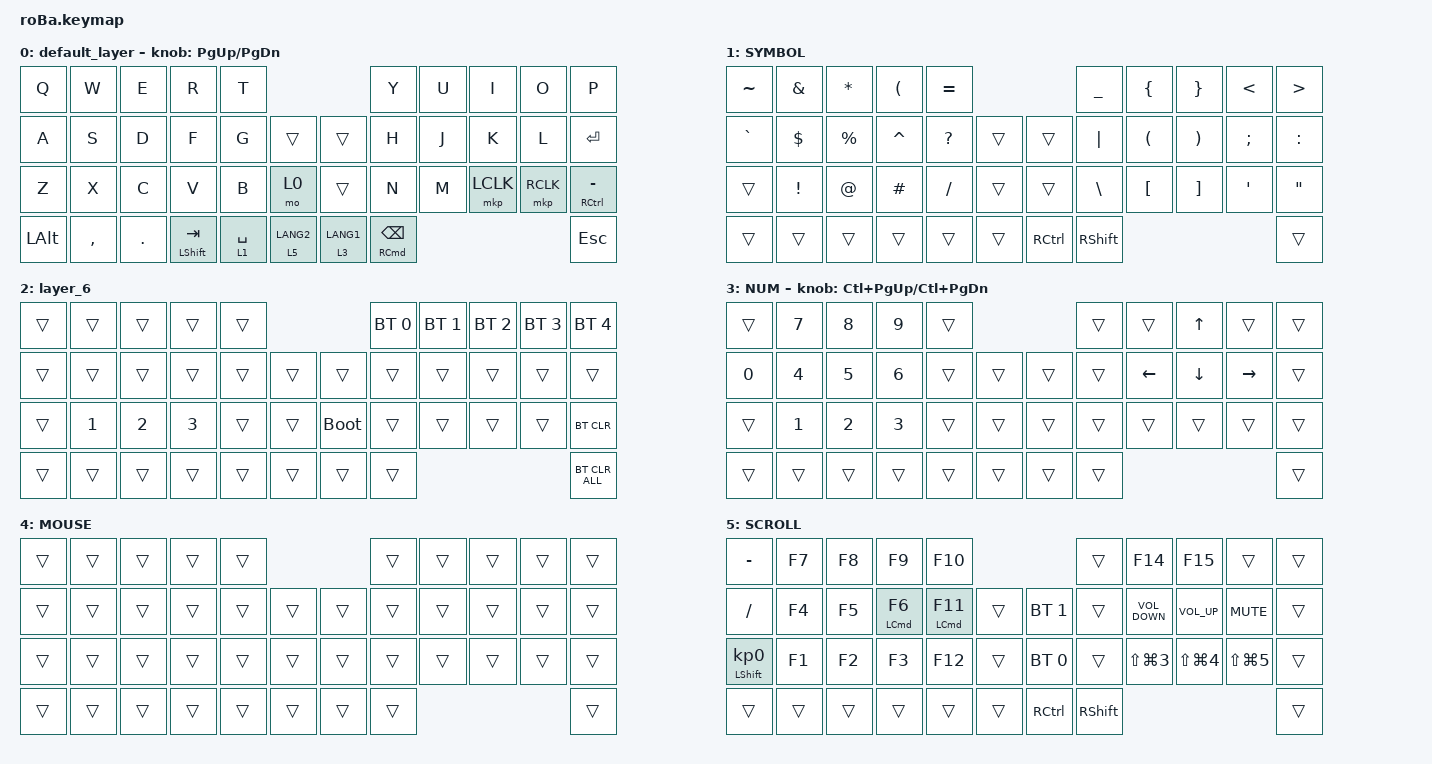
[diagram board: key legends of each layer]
#include <behaviors.dtsi>
#include <dt-bindings/zmk/bt.h>
#include <dt-bindings/zmk/keys.h>
#include <dt-bindings/zmk/pointing.h>

#define MOUSE 4
#define SCROLL 5
#define NUM 6

&mt {
    flavor = "balanced";
    quick-tap-ms = <0>;
};

/ {
    combos {
        compatible = "zmk,combos";

        tab {
            bindings = <&kp TAB>;
            key-positions = <11 12>;
        };

        shift_tab {
            bindings = <&kp LS(TAB)>;
            key-positions = <12 13>;
        };

        muhennkann {
            bindings = <&to_layer_0 INT_MUHENKAN>;
            key-positions = <11 10>;
        };

        double_quotation {
            bindings = <&kp DOUBLE_QUOTES>;
            key-positions = <20 21>;
        };

        eq {
            bindings = <&kp EQUAL>;
            key-positions = <24 25>;
        };
    };

    macros {
        to_layer_0: to_layer_0 {
            compatible = "zmk,behavior-macro-one-param";
            #binding-cells = <1>;
            bindings = <&to 0 &macro_param_1to1 &kp MACRO_PLACEHOLDER>;
            label = "TO_LAYER_0";
        };
    };

    behaviors {
        lt_to_layer_0: lt_to_layer_0 {
            compatible = "zmk,behavior-hold-tap";
            label = "LAYER_TAP_TO_0";
            bindings = <&mo>, <&to_layer_0>;

            #binding-cells = <2>;
            tapping-term-ms = <200>;
        };
    };

    keymap {
        compatible = "zmk,keymap";

        default_layer {
            bindings = <
&kp Q         &kp W      &kp E       &kp R               &kp T                                      &kp Y                        &kp U  &kp I      &kp O      &kp P
&kp A         &kp S      &kp D       &kp F               &kp G        &trans           &trans       &kp H                        &kp J  &kp K      &kp L      &kp ENTER
&kp Z         &kp X      &kp C       &kp V               &kp B        &mo 0            &trans       &kp N                        &kp M  &mkp LCLK  &mkp RCLK  &mt RCTRL MINUS
&kp LEFT_ALT  &kp COMMA  &kp PERIOD  &mt LEFT_SHIFT TAB  &lt 1 SPACE  &lt 5 LANG2      &lt 3 LANG1  &mt RIGHT_COMMAND BACKSPACE                               &kp ESCAPE
            >;

            sensor-bindings = <&inc_dec_kp PG_UP PAGE_DOWN>;
        };

        SYMBOL {
            bindings = <
&kp TILDE  &kp AMPERSAND    &kp ASTERISK  &kp LEFT_PARENTHESIS  &kp EQUAL                            &kp UNDERSCORE   &kp LEFT_BRACE        &kp RIGHT_BRACE        &kp LESS_THAN     &kp GREATER_THAN
&kp GRAVE  &kp DOLLAR       &kp PERCENT   &kp CARET             &kp QUESTION  &trans      &trans     &kp PIPE         &kp LEFT_PARENTHESIS  &kp RIGHT_PARENTHESIS  &kp SEMICOLON     &kp COLON
&trans     &kp EXCLAMATION  &kp AT_SIGN   &kp HASH              &kp SLASH     &trans      &trans     &kp BACKSLASH    &kp LEFT_BRACKET      &kp RIGHT_BRACKET      &kp SINGLE_QUOTE  &kp DOUBLE_QUOTES
&trans     &trans           &trans        &trans                &trans        &trans      &kp RCTRL  &kp RIGHT_SHIFT                                                                 &trans
            >;
        };

        layer_6 {
            bindings = <
&trans  &trans        &trans        &trans        &trans                           &bt BT_SEL 0  &bt BT_SEL 1  &bt BT_SEL 2  &bt BT_SEL 3  &bt BT_SEL 4
&trans  &trans        &trans        &trans        &trans  &trans      &trans       &trans        &trans        &trans        &trans        &trans
&trans  &kp NUMBER_1  &kp NUMBER_2  &kp NUMBER_3  &trans  &trans      &bootloader  &trans        &trans        &trans        &trans        &bt BT_CLR
&trans  &trans        &trans        &trans        &trans  &trans      &trans       &trans                                                  &bt BT_CLR_ALL
            >;
        };

        NUM {
            bindings = <
&trans        &kp NUMBER_7  &kp NUMBER_8  &kp N9        &trans                      &trans  &trans          &kp UP_ARROW    &trans           &trans
&kp NUMBER_0  &kp NUMBER_4  &kp NUMBER_5  &kp NUMBER_6  &trans  &trans      &trans  &trans  &kp LEFT_ARROW  &kp DOWN_ARROW  &kp RIGHT_ARROW  &trans
&trans        &kp NUMBER_1  &kp NUMBER_2  &kp NUMBER_3  &trans  &trans      &trans  &trans  &trans          &trans          &trans           &trans
&trans        &trans        &trans        &trans        &trans  &trans      &trans  &trans                                                   &trans
            >;

            sensor-bindings = <&inc_dec_kp LC(PAGE_UP) LC(PAGE_DOWN)>;
        };

        MOUSE {
            bindings = <
&trans  &trans  &trans  &trans  &trans                      &trans  &trans  &trans  &trans  &trans
&trans  &trans  &trans  &trans  &trans  &trans      &trans  &trans  &trans  &trans  &trans  &trans
&trans  &trans  &trans  &trans  &trans  &trans      &trans  &trans  &trans  &trans  &trans  &trans
&trans  &trans  &trans  &trans  &trans  &trans      &trans  &trans                          &trans
            >;
        };

        SCROLL {
            bindings = <
&kp MINUS                   &kp F7  &kp F8  &kp F9       &kp F10                                 &trans           &kp F14               &kp F15               &trans                &trans
&kp SLASH                   &kp F4  &kp F5  &mt LCMD F6  &mt LCMD F11  &trans      &bt BT_SEL 1  &trans           &kp C_VOLUME_DOWN     &kp C_VOLUME_UP       &kp C_MUTE            &trans
&mt LEFT_SHIFT KP_NUMBER_0  &kp F1  &kp F2  &kp F3       &kp F12       &trans      &bt BT_SEL 0  &trans           &kp LS(LG(NUMBER_3))  &kp LS(LG(NUMBER_4))  &kp LS(LG(NUMBER_5))  &trans
&trans                      &trans  &trans  &trans       &trans        &trans      &kp RCTRL     &kp RIGHT_SHIFT                                                                    &trans
            >;
        };
    };
};
